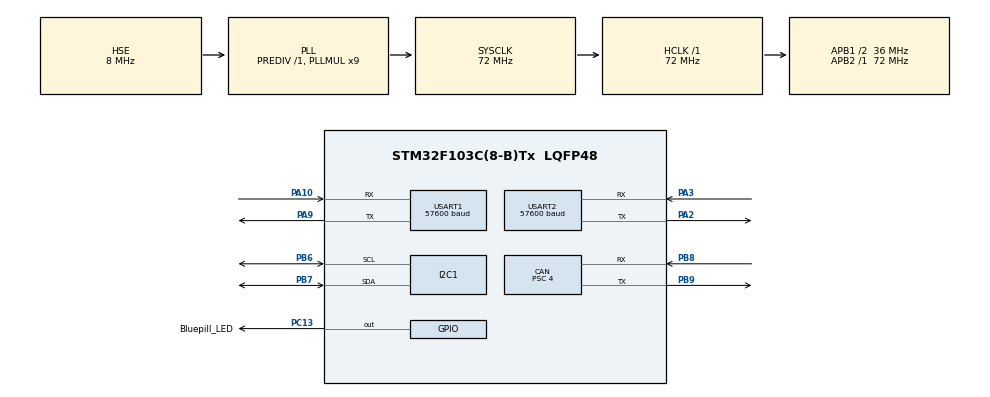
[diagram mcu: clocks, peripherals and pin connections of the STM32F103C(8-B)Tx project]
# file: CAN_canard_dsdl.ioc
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CAN.BS1=CAN_BS1_6TQ
CAN.BS2=CAN_BS2_2TQ
CAN.CalculateBaudRate=1000000
CAN.CalculateTimeBit=1000
CAN.CalculateTimeQuantum=111.11111111111111
CAN.Prescaler=4
Dma.Request0=USART1_RX
Dma.Request1=USART2_RX
Dma.Request2=USART1_TX
Dma.Request3=USART2_TX
Dma.USART1_RX.0.Direction=DMA_PERIPH_TO_MEMORY
Dma.USART1_RX.0.Instance=DMA1_Channel5
Dma.USART1_RX.0.MemDataAlignment=DMA_MDATAALIGN_BYTE
Dma.USART1_RX.0.MemInc=DMA_MINC_ENABLE
Dma.USART1_RX.0.Mode=DMA_CIRCULAR
Dma.USART1_RX.0.PeriphDataAlignment=DMA_PDATAALIGN_BYTE
Dma.USART1_RX.0.PeriphInc=DMA_PINC_DISABLE
Dma.USART1_RX.0.Priority=DMA_PRIORITY_LOW
Dma.USART1_TX.2.Direction=DMA_MEMORY_TO_PERIPH
Dma.USART1_TX.2.Instance=DMA1_Channel4
Dma.USART1_TX.2.MemDataAlignment=DMA_MDATAALIGN_BYTE
Dma.USART1_TX.2.MemInc=DMA_MINC_ENABLE
Dma.USART1_TX.2.Mode=DMA_NORMAL
Dma.USART1_TX.2.PeriphDataAlignment=DMA_PDATAALIGN_BYTE
Dma.USART1_TX.2.PeriphInc=DMA_PINC_DISABLE
Dma.USART1_TX.2.Priority=DMA_PRIORITY_LOW
Dma.USART2_RX.1.Direction=DMA_PERIPH_TO_MEMORY
Dma.USART2_RX.1.Instance=DMA1_Channel6
Dma.USART2_RX.1.MemDataAlignment=DMA_MDATAALIGN_BYTE
Dma.USART2_RX.1.MemInc=DMA_MINC_ENABLE
Dma.USART2_RX.1.Mode=DMA_CIRCULAR
Dma.USART2_RX.1.PeriphDataAlignment=DMA_PDATAALIGN_BYTE
Dma.USART2_RX.1.PeriphInc=DMA_PINC_DISABLE
Dma.USART2_RX.1.Priority=DMA_PRIORITY_LOW
Dma.USART2_TX.3.Direction=DMA_MEMORY_TO_PERIPH
Dma.USART2_TX.3.Instance=DMA1_Channel7
Dma.USART2_TX.3.MemDataAlignment=DMA_MDATAALIGN_BYTE
Dma.USART2_TX.3.MemInc=DMA_MINC_ENABLE
Dma.USART2_TX.3.Mode=DMA_NORMAL
Dma.USART2_TX.3.PeriphDataAlignment=DMA_PDATAALIGN_BYTE
Dma.USART2_TX.3.PeriphInc=DMA_PINC_DISABLE
Dma.USART2_TX.3.Priority=DMA_PRIORITY_LOW
I2C1.I2C_Mode=I2C_Standard
Mcu.Family=STM32F1
Mcu.Name=STM32F103C(8-B)Tx
Mcu.Package=LQFP48
NVIC.CAN1_RX1_IRQn=true\:0\:0\:false\:false\:true\:true\:true\:true
NVIC.CAN1_SCE_IRQn=true\:0\:0\:false\:false\:true\:true\:true\:true
NVIC.DMA1_Channel4_IRQn=true\:0\:0\:false\:false\:true\:false\:true\:true
NVIC.DMA1_Channel5_IRQn=true\:0\:0\:false\:false\:true\:false\:true\:true
NVIC.DMA1_Channel6_IRQn=true\:0\:0\:false\:false\:true\:false\:true\:true
NVIC.DMA1_Channel7_IRQn=true\:0\:0\:false\:false\:true\:false\:true\:true
NVIC.PriorityGroup=NVIC_PRIORITYGROUP_4
NVIC.USART1_IRQn=true\:0\:0\:false\:false\:true\:true\:true\:true
NVIC.USART2_IRQn=true\:0\:0\:false\:false\:true\:true\:true\:true
NVIC.USB_HP_CAN1_TX_IRQn=true\:0\:0\:false\:false\:true\:true\:true\:true
NVIC.USB_LP_CAN1_RX0_IRQn=true\:0\:0\:false\:false\:true\:true\:true\:true
PA10.Mode=Asynchronous
PA10.Signal=USART1_RX
PA13.Mode=Serial_Wire
PA13.Signal=SYS_JTMS-SWDIO
PA14.Mode=Serial_Wire
PA14.Signal=SYS_JTCK-SWCLK
PA2.Mode=Asynchronous
PA2.Signal=USART2_TX
PA3.Mode=Asynchronous
PA3.Signal=USART2_RX
PA9.Mode=Asynchronous
PA9.Signal=USART1_TX
PB6.Mode=I2C
PB6.Signal=I2C1_SCL
PB7.Mode=I2C
PB7.Signal=I2C1_SDA
PB8.Mode=CAN_Activate
PB8.Signal=CAN_RX
PB9.Mode=CAN_Activate
PB9.Signal=CAN_TX
PC13-TAMPER-RTC.GPIO_Label=Bluepill_LED
PC13-TAMPER-RTC.Signal=GPIO_Output
PD0-OSC_IN.Mode=HSE-External-Oscillator
PD0-OSC_IN.Signal=RCC_OSC_IN
PD1-OSC_OUT.Mode=HSE-External-Oscillator
PD1-OSC_OUT.Signal=RCC_OSC_OUT
ProjectManager.HeapSize=0x200
ProjectManager.StackSize=0x400
ProjectManager.TargetToolchain=MDK-ARM V5.32
RCC.AHBFreq_Value=72000000
RCC.APB1CLKDivider=RCC_HCLK_DIV2
RCC.APB1Freq_Value=36000000
RCC.APB1TimFreq_Value=72000000
RCC.APB2Freq_Value=72000000
RCC.APB2TimFreq_Value=72000000
RCC.HCLKFreq_Value=72000000
RCC.PLLMUL=RCC_PLL_MUL9
RCC.PLLSourceVirtual=RCC_PLLSOURCE_HSE
RCC.SYSCLKFreq_VALUE=72000000
RCC.SYSCLKSource=RCC_SYSCLKSOURCE_PLLCLK
RCC.USBFreq_Value=72000000
USART1.BaudRate=57600
USART1.VirtualMode=VM_ASYNC
USART2.BaudRate=57600
USART2.VirtualMode=VM_ASYNC
board=custom

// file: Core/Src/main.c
/* USER CODE BEGIN Header */
/**
  ******************************************************************************
  * @file           : main.c
  * @brief          : Main program body
  ******************************************************************************
  * @attention
  *
  * Copyright (c) 2025 STMicroelectronics.
  * All rights reserved.
  *
  * This software is licensed under terms that can be found in the LICENSE file
  * in the root directory of this software component.
  * If no LICENSE file comes with this software, it is provided AS-IS.
  *
  ******************************************************************************
  */
/* USER CODE END Header */
#include "main.h"

/* USER CODE BEGIN Includes */
#include "canard.h"
#include "uavcan.protocol.NodeStatus.h"
#include "uavcan.equipment.power.BatteryInfo.h"
#include <stdarg.h> // for va_list, va_start, va_end
#include <string.h> // for strlen()
#include <stdio.h> // for vsnprintf()
#include <stdlib.h> // for rand()
#include <math.h>  // for using NAN
//#include <random>

/* USER CODE END Includes */

/* USER CODE BEGIN PD */
#define NODE_ID            20
#define TARGET_NODE_ID     10
#define STATUS_BROADCAST_INTERVAL_MS 1000
#define PMU_BROADCAST_INTERVAL_MS     500
#define CANARD_MTU         8

/* USER CODE END PD */

CAN_HandleTypeDef hcan;

I2C_HandleTypeDef hi2c1;

UART_HandleTypeDef huart1;
UART_HandleTypeDef huart2;
DMA_HandleTypeDef hdma_usart1_rx;
DMA_HandleTypeDef hdma_usart1_tx;
DMA_HandleTypeDef hdma_usart2_rx;
DMA_HandleTypeDef hdma_usart2_tx;

/* USER CODE BEGIN PV */
static CanardInstance canard;
static uint8_t canard_memory_pool[1024];
static uint8_t transfer_id_node_status = 0;
static uint8_t transfer_id_battery_info = 0;

/* USER CODE END PV */

void SystemClock_Config(void);
static void MX_GPIO_Init(void);
static void MX_DMA_Init(void);
static void MX_USART1_UART_Init(void);
static void MX_USART2_UART_Init(void);
static void MX_I2C1_Init(void);
static void MX_CAN_Init(void);
/* USER CODE BEGIN PFP */
void canard_init(void);
void send_node_status(void);
void send_battery_info(void);
void handle_can_rx(void);
void handle_transfer_received(CanardInstance* ins, CanardRxTransfer* transfer);
bool should_accept_transfer(const CanardInstance* ins,
                            uint64_t* out_data_type_signature,
                            uint16_t data_type_id,
                            CanardTransferType transfer_type,
                            uint8_t source_node_id);

/* USER CODE END PFP */

/* USER CODE BEGIN 0 */
void debug_uart(const char* fmt, ...) {
    char buf[128];
    va_list args;
    va_start(args, fmt);
    vsnprintf(buf, sizeof(buf), fmt, args);
    va_end(args);
    HAL_UART_Transmit(&huart1, (uint8_t*)buf, strlen(buf), HAL_MAX_DELAY);
}

void canard_init(void) {
    canardInit(&canard, canard_memory_pool, sizeof(canard_memory_pool),
               handle_transfer_received, should_accept_transfer, NULL);
    canard.node_id = NODE_ID;
}

bool should_accept_transfer(const CanardInstance* ins,
                            uint64_t* out_data_type_signature,
                            uint16_t data_type_id,
                            CanardTransferType transfer_type,
                            uint8_t source_node_id) {
    if (data_type_id == UAVCAN_PROTOCOL_NODESTATUS_ID) {
        *out_data_type_signature = UAVCAN_PROTOCOL_NODESTATUS_SIGNATURE;
        return true;
    }
    return false;
}

void handle_transfer_received(CanardInstance* ins, CanardRxTransfer* transfer) {
    if (transfer->transfer_type == CanardTransferTypeBroadcast &&
        transfer->source_node_id == TARGET_NODE_ID &&
        transfer->data_type_id == UAVCAN_PROTOCOL_NODESTATUS_ID) {

        struct uavcan_protocol_NodeStatus status;
        int res = uavcan_protocol_NodeStatus_decode(transfer, &status);
        if (res >= 0) {
            debug_uart("[Node 10] Uptime: %lus, Health: %u, Mode: %u\r\n",
                       (unsigned long)status.uptime_sec,
                       status.health,
                       status.mode);
        }
    }
}

void send_node_status(void) {
    struct uavcan_protocol_NodeStatus msg = {
        .uptime_sec = HAL_GetTick() / 1000,
        .health = UAVCAN_PROTOCOL_NODESTATUS_HEALTH_OK,
        .mode = UAVCAN_PROTOCOL_NODESTATUS_MODE_OPERATIONAL,
        .vendor_specific_status_code = 0
    };

    uint8_t payload[UAVCAN_PROTOCOL_NODESTATUS_MAX_SIZE];
    int16_t payload_len = uavcan_protocol_NodeStatus_encode(&msg, payload);

    if (payload_len > 0) {
        canardBroadcast(&canard,
                        UAVCAN_PROTOCOL_NODESTATUS_SIGNATURE,
                        UAVCAN_PROTOCOL_NODESTATUS_ID,
                        &transfer_id_node_status,
                        CANARD_TRANSFER_PRIORITY_LOW,
                        payload,
                        (uint16_t)payload_len);
    }
}

void send_battery_info(void) {
    struct uavcan_equipment_power_BatteryInfo msg = {0};

		msg.temperature = 317.0000f;
    msg.voltage = 20.3594f;
    msg.current = 1.0176f;

		msg.average_power_10sec = 0.0f;
		msg.remaining_capacity_wh = 0.0f;
		msg.full_charge_capacity_wh = 0.0f;
		msg.hours_to_full_charge = 0.0f;

    msg.status_flags = 1;
		msg.state_of_health_pct = 0;
		msg.state_of_charge_pct = 0;
		msg.state_of_charge_pct_stdev = 0;
		msg.battery_id = 0;

    msg.model_instance_id = 0;

    // Fill model_name (e.g., "stm32_pmu")
    const char* name = "stm32_pmu_123456v";
    msg.model_name.len = strlen(name);
    memcpy(msg.model_name.data, name, msg.model_name.len);

    uint8_t payload[UAVCAN_EQUIPMENT_POWER_BATTERYINFO_MAX_SIZE];
    int16_t payload_len = uavcan_equipment_power_BatteryInfo_encode(&msg, payload);

    if (payload_len > 0) {
        canardBroadcast(&canard,
                        UAVCAN_EQUIPMENT_POWER_BATTERYINFO_SIGNATURE,
                        UAVCAN_EQUIPMENT_POWER_BATTERYINFO_ID,
                        &transfer_id_battery_info,
                        CANARD_TRANSFER_PRIORITY_LOW,
                        payload,
                        (uint16_t)payload_len);
    }
}

void handle_can_tx(void) {
	int count = 0;
    while (1) {
        const CanardCANFrame* txf = canardPeekTxQueue(&canard);
        if (txf == NULL) break;  // No more frames

        CAN_TxHeaderTypeDef tx_header;
        tx_header.StdId = txf->id;
        tx_header.ExtId = txf->id;
        tx_header.IDE = CAN_ID_EXT;
        tx_header.RTR = CAN_RTR_DATA;
        tx_header.DLC = txf->data_len;
        tx_header.TransmitGlobalTime = DISABLE;

        uint32_t tx_mailbox;
        HAL_StatusTypeDef res = HAL_CAN_AddTxMessage(&hcan, &tx_header, (uint8_t*)txf->data, &tx_mailbox);
        if (res == HAL_OK) {
            canardPopTxQueue(&canard);
					count++;
        } else {
            // Can't send now — hardware busy, exit and retry later
					debug_uart("CAN TX mailbox full, retry later %d \r\n",HAL_GetTick());
            break;
        }
    }
		if (count > 0) {
        debug_uart("CAN TX frames sent: %d  ", count);
			debug_uart("ms: %d\r\n", HAL_GetTick());
    }
}

void handle_can_rx(void) {
    CAN_RxHeaderTypeDef rx_header;
    uint8_t data[8];

    while (HAL_CAN_GetRxFifoFillLevel(&hcan, CAN_RX_FIFO0) > 0) {
        if (HAL_CAN_GetRxMessage(&hcan, CAN_RX_FIFO0, &rx_header, data) == HAL_OK) {
            CanardCANFrame frame = {
                .id = rx_header.ExtId,
                .data_len = rx_header.DLC
            };
            memcpy(frame.data, data, 8);
            canardHandleRxFrame(&canard, &frame, HAL_GetTick() * 1000);
        }
    }
}

/* USER CODE END 0 */

int main(void)
{

  /* MCU Configuration--------------------------------------------------------*/

  /* Reset of all peripherals, Initializes the Flash interface and the Systick. */
  HAL_Init();

  /* Configure the system clock */
  SystemClock_Config();

  /* Initialize all configured peripherals */
  MX_GPIO_Init();
  MX_DMA_Init();
  MX_USART1_UART_Init();
  MX_USART2_UART_Init();
  MX_I2C1_Init();
  MX_CAN_Init();
  /* USER CODE BEGIN 2 */
	//MX_TIM2_Init();

	HAL_CAN_Start(&hcan);
	HAL_CAN_ActivateNotification(&hcan, CAN_IT_RX_FIFO0_MSG_PENDING);

	canard_init();
	debug_uart("DroneCAN node started (ID %d)\r\n", NODE_ID);

	//uint32_t last_broadcast = HAL_GetTick();
	uint32_t last_status = 0;
	uint32_t last_pmu = 0;

  /* USER CODE END 2 */

  /* Infinite loop */
  while (1)
  {

    /* USER CODE BEGIN 3 */
		handle_can_rx();
		while (canardPeekTxQueue(&canard)) {
        handle_can_tx();
    }

		uint32_t now = HAL_GetTick();

		if (now - last_status >= STATUS_BROADCAST_INTERVAL_MS) {
			send_node_status();
			last_status = now;
			HAL_GPIO_TogglePin(Bluepill_LED_GPIO_Port,Bluepill_LED_Pin);
        }

		if (now - last_pmu >= PMU_BROADCAST_INTERVAL_MS) {
				send_battery_info();
				last_pmu = now;
		}
  }
  /* USER CODE END 3 */
}

void SystemClock_Config(void)
{
  RCC_OscInitTypeDef RCC_OscInitStruct = {0};
  RCC_ClkInitTypeDef RCC_ClkInitStruct = {0};

  /** Initializes the RCC Oscillators according to the specified parameters
  * in the RCC_OscInitTypeDef structure.
  */
  RCC_OscInitStruct.OscillatorType = RCC_OSCILLATORTYPE_HSE;
  RCC_OscInitStruct.HSEState = RCC_HSE_ON;
  RCC_OscInitStruct.HSEPredivValue = RCC_HSE_PREDIV_DIV1;
  RCC_OscInitStruct.HSIState = RCC_HSI_ON;
  RCC_OscInitStruct.PLL.PLLState = RCC_PLL_ON;
  RCC_OscInitStruct.PLL.PLLSource = RCC_PLLSOURCE_HSE;
  RCC_OscInitStruct.PLL.PLLMUL = RCC_PLL_MUL9;
  if (HAL_RCC_OscConfig(&RCC_OscInitStruct) != HAL_OK)
  {
    Error_Handler();
  }

  /** Initializes the CPU, AHB and APB buses clocks
  */
  RCC_ClkInitStruct.ClockType = RCC_CLOCKTYPE_HCLK|RCC_CLOCKTYPE_SYSCLK
                              |RCC_CLOCKTYPE_PCLK1|RCC_CLOCKTYPE_PCLK2;
  RCC_ClkInitStruct.SYSCLKSource = RCC_SYSCLKSOURCE_PLLCLK;
  RCC_ClkInitStruct.AHBCLKDivider = RCC_SYSCLK_DIV1;
  RCC_ClkInitStruct.APB1CLKDivider = RCC_HCLK_DIV2;
  RCC_ClkInitStruct.APB2CLKDivider = RCC_HCLK_DIV1;

  if (HAL_RCC_ClockConfig(&RCC_ClkInitStruct, FLASH_LATENCY_2) != HAL_OK)
  {
    Error_Handler();
  }
}

static void MX_CAN_Init(void)
{

  hcan.Instance = CAN1;
  hcan.Init.Prescaler = 4;
  hcan.Init.Mode = CAN_MODE_NORMAL;
  hcan.Init.SyncJumpWidth = CAN_SJW_1TQ;
  hcan.Init.TimeSeg1 = CAN_BS1_6TQ;
  hcan.Init.TimeSeg2 = CAN_BS2_2TQ;
  hcan.Init.TimeTriggeredMode = DISABLE;
  hcan.Init.AutoBusOff = DISABLE;
  hcan.Init.AutoWakeUp = DISABLE;
  hcan.Init.AutoRetransmission = DISABLE;
  hcan.Init.ReceiveFifoLocked = DISABLE;
  hcan.Init.TransmitFifoPriority = DISABLE;
  if (HAL_CAN_Init(&hcan) != HAL_OK)
  {
    Error_Handler();
  }

}

static void MX_I2C1_Init(void)
{

  hi2c1.Instance = I2C1;
  hi2c1.Init.ClockSpeed = 100000;
  hi2c1.Init.DutyCycle = I2C_DUTYCYCLE_2;
  hi2c1.Init.OwnAddress1 = 0;
  hi2c1.Init.AddressingMode = I2C_ADDRESSINGMODE_7BIT;
  hi2c1.Init.DualAddressMode = I2C_DUALADDRESS_DISABLE;
  hi2c1.Init.OwnAddress2 = 0;
  hi2c1.Init.GeneralCallMode = I2C_GENERALCALL_DISABLE;
  hi2c1.Init.NoStretchMode = I2C_NOSTRETCH_DISABLE;
  if (HAL_I2C_Init(&hi2c1) != HAL_OK)
  {
    Error_Handler();
  }

}

static void MX_USART1_UART_Init(void)
{

  huart1.Instance = USART1;
  huart1.Init.BaudRate = 57600;
  huart1.Init.WordLength = UART_WORDLENGTH_8B;
  huart1.Init.StopBits = UART_STOPBITS_1;
  huart1.Init.Parity = UART_PARITY_NONE;
  huart1.Init.Mode = UART_MODE_TX_RX;
  huart1.Init.HwFlowCtl = UART_HWCONTROL_NONE;
  huart1.Init.OverSampling = UART_OVERSAMPLING_16;
  if (HAL_UART_Init(&huart1) != HAL_OK)
  {
    Error_Handler();
  }

}

static void MX_USART2_UART_Init(void)
{

  huart2.Instance = USART2;
  huart2.Init.BaudRate = 57600;
  huart2.Init.WordLength = UART_WORDLENGTH_8B;
  huart2.Init.StopBits = UART_STOPBITS_1;
  huart2.Init.Parity = UART_PARITY_NONE;
  huart2.Init.Mode = UART_MODE_TX_RX;
  huart2.Init.HwFlowCtl = UART_HWCONTROL_NONE;
  huart2.Init.OverSampling = UART_OVERSAMPLING_16;
  if (HAL_UART_Init(&huart2) != HAL_OK)
  {
    Error_Handler();
  }

}

static void MX_DMA_Init(void)
{

  /* DMA controller clock enable */
  __HAL_RCC_DMA1_CLK_ENABLE();

  /* DMA interrupt init */
  /* DMA1_Channel4_IRQn interrupt configuration */
  HAL_NVIC_SetPriority(DMA1_Channel4_IRQn, 0, 0);
  HAL_NVIC_EnableIRQ(DMA1_Channel4_IRQn);
  /* DMA1_Channel5_IRQn interrupt configuration */
  HAL_NVIC_SetPriority(DMA1_Channel5_IRQn, 0, 0);
  HAL_NVIC_EnableIRQ(DMA1_Channel5_IRQn);
  /* DMA1_Channel6_IRQn interrupt configuration */
  HAL_NVIC_SetPriority(DMA1_Channel6_IRQn, 0, 0);
  HAL_NVIC_EnableIRQ(DMA1_Channel6_IRQn);
  /* DMA1_Channel7_IRQn interrupt configuration */
  HAL_NVIC_SetPriority(DMA1_Channel7_IRQn, 0, 0);
  HAL_NVIC_EnableIRQ(DMA1_Channel7_IRQn);

}

static void MX_GPIO_Init(void)
{
  GPIO_InitTypeDef GPIO_InitStruct = {0};

  /* GPIO Ports Clock Enable */
  __HAL_RCC_GPIOC_CLK_ENABLE();
  __HAL_RCC_GPIOD_CLK_ENABLE();
  __HAL_RCC_GPIOA_CLK_ENABLE();
  __HAL_RCC_GPIOB_CLK_ENABLE();

  /*Configure GPIO pin Output Level */
  HAL_GPIO_WritePin(Bluepill_LED_GPIO_Port, Bluepill_LED_Pin, GPIO_PIN_RESET);

  /*Configure GPIO pin : Bluepill_LED_Pin */
  GPIO_InitStruct.Pin = Bluepill_LED_Pin;
  GPIO_InitStruct.Mode = GPIO_MODE_OUTPUT_PP;
  GPIO_InitStruct.Pull = GPIO_NOPULL;
  GPIO_InitStruct.Speed = GPIO_SPEED_FREQ_LOW;
  HAL_GPIO_Init(Bluepill_LED_GPIO_Port, &GPIO_InitStruct);

}

void Error_Handler(void)
{
  __disable_irq();
  while (1)
  {
  }
}
